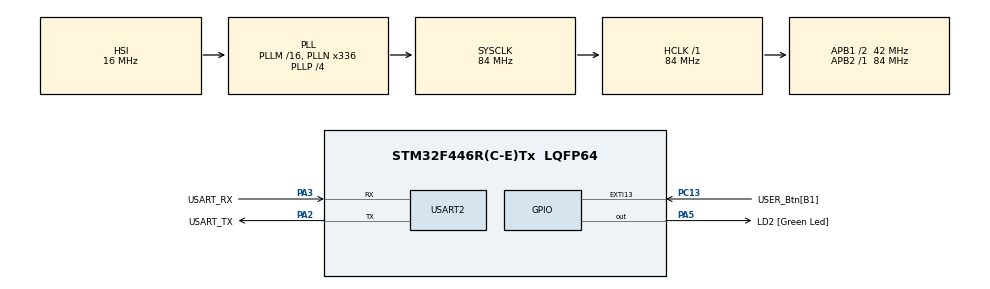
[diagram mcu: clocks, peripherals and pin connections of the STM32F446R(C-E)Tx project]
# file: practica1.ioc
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FREERTOS.BinarySemaphores01=Binary_Sem,Dynamic,NULL,Available
FREERTOS.Tasks01=Task1,0,128,Task1_App,Default,NULL,Dynamic,NULL,NULL;Task2,0,128,Task2_App,Default,NULL,Dynamic,NULL,NULL
Mcu.Family=STM32F4
Mcu.Name=STM32F446R(C-E)Tx
Mcu.Package=LQFP64
NVIC.EXTI15_10_IRQn=true\:5\:0\:false\:false\:true\:true\:true\:true\:true
NVIC.PriorityGroup=NVIC_PRIORITYGROUP_4
NVIC.TIM1_UP_TIM10_IRQn=true\:15\:0\:false\:false\:true\:false\:false\:true\:true
NVIC.TimeBase=TIM1_UP_TIM10_IRQn
NVIC.TimeBaseIP=TIM1
PA13.GPIO_Label=TMS
PA13.Mode=Serial_Wire
PA13.Signal=SYS_JTMS-SWDIO
PA14.GPIO_Label=TCK
PA14.Mode=Serial_Wire
PA14.Signal=SYS_JTCK-SWCLK
PA2.GPIO_Label=USART_TX
PA2.Mode=Asynchronous
PA2.Signal=USART2_TX
PA3.GPIO_Label=USART_RX
PA3.Mode=Asynchronous
PA3.Signal=USART2_RX
PA5.GPIO_Label=LD2 [Green Led]
PA5.Signal=GPIO_Output
PB3.GPIO_Label=SWO
PB3.Signal=SYS_JTDO-SWO
PC13.GPIO_Label=USER_Btn[B1]
PC13.GPIO_ModeDefaultEXTI=GPIO_MODE_IT_FALLING
PC13.Signal=GPXTI13
PC14-OSC32_IN.Mode=LSE-External-Oscillator
PC14-OSC32_IN.Signal=RCC_OSC32_IN
PC15-OSC32_OUT.Mode=LSE-External-Oscillator
PC15-OSC32_OUT.Signal=RCC_OSC32_OUT
PH0-OSC_IN.Mode=HSE-External-Oscillator
PH0-OSC_IN.Signal=RCC_OSC_IN
PH1-OSC_OUT.Mode=HSE-External-Oscillator
PH1-OSC_OUT.Signal=RCC_OSC_OUT
ProjectManager.HeapSize=0x200
ProjectManager.StackSize=0x400
ProjectManager.TargetToolchain=STM32CubeIDE
RCC.48MHZClocksFreq_Value=84000000
RCC.AHBFreq_Value=84000000
RCC.APB1CLKDivider=RCC_HCLK_DIV2
RCC.APB1Freq_Value=42000000
RCC.APB1TimFreq_Value=84000000
RCC.APB2Freq_Value=84000000
RCC.APB2TimFreq_Value=84000000
RCC.CortexFreq_Value=84000000
RCC.FLatency-AdvancedSettings=FLASH_LATENCY_2
RCC.HCLKFreq_Value=84000000
RCC.HSE_VALUE=8000000
RCC.HSI_VALUE=16000000
RCC.PLLN=336
RCC.PLLP=RCC_PLLP_DIV4
RCC.SYSCLKFreq_VALUE=84000000
RCC.SYSCLKSource=RCC_SYSCLKSOURCE_PLLCLK
RCC.USBFreq_Value=168000000
RCC.VCOOutputFreq_Value=336000000
USART2.VirtualMode=VM_ASYNC
VP_FREERTOS_VS_CMSIS_V1.Mode=CMSIS_V1
VP_SYS_VS_tim1.Mode=TIM1
board=NUCLEO-F446RE

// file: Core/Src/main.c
/* USER CODE BEGIN Header */
/**
  ******************************************************************************
  * @file           : main.c
  * @brief          : Main program body
  ******************************************************************************
  * @attention
  *
  * Copyright (c) 2025 STMicroelectronics.
  * All rights reserved.
  *
  * This software is licensed under terms that can be found in the LICENSE file
  * in the root directory of this software component.
  * If no LICENSE file comes with this software, it is provided AS-IS.
  *
  ******************************************************************************
  */
/* USER CODE END Header */
#include "main.h"
#include "cmsis_os.h"
#include "logger.h"
#include "dwt.h"

/* Application includes. */

TIM_HandleTypeDef htim2;

UART_HandleTypeDef huart2;

osThreadId defaultTaskHandle;
UART_HandleTypeDef huart2;

osThreadId Task1Handle;
osThreadId Task2Handle;
osSemaphoreId Binary_SemHandle;
/* USER CODE BEGIN PV */
volatile unsigned long ulHighFrequencyTimerTicks;
/* USER CODE END PV */

void SystemClock_Config(void);
static void MX_GPIO_Init(void);
static void MX_USART2_UART_Init(void);
void Task1_App(void const * argument);
void Task2_App(void const * argument);

/* USER CODE BEGIN 0 */
#include <stdio.h>
#include "../../app/inc/app.h"
extern void initialise_monitor_handles(void);
/* USER CODE END 0 */

int main(void)
{

  /* USER CODE BEGIN 1 */
	initialise_monitor_handles();
  /* USER CODE END 1 */

  /* MCU Configuration--------------------------------------------------------*/

  /* Reset of all peripherals, Initializes the Flash interface and the Systick. */
  HAL_Init();

  /* Configure the system clock */
  SystemClock_Config();

  /* Initialize all configured peripherals */
  MX_GPIO_Init();
  MX_USART2_UART_Init();
  /* USER CODE BEGIN 2 */
  /* Start timer */
	HAL_TIM_Base_Start_IT(&htim2);

    /* add application, ... */
	app_init();

  /* USER CODE END 2 */

  /* Create the semaphores(s) */
  /* definition and creation of Binary_Sem */
  osSemaphoreDef(Binary_Sem);
  Binary_SemHandle = osSemaphoreCreate(osSemaphore(Binary_Sem), 1);

  /* USER CODE BEGIN RTOS_QUEUES */
  /* add queues, ... */
#ifdef _defaultTask_

/* USER CODE END RTOS_QUEUES */

/* Create the thread(s) */
/* definition and creation of defaultTask */
osThreadDef(defaultTask, StartDefaultTask, osPriorityNormal, 0, 128);
defaultTaskHandle = osThreadCreate(osThread(defaultTask), NULL);

/* USER CODE BEGIN RTOS_THREADS */
#endif
  /* USER CODE BEGIN RTOS_THREADS */
  /* add threads, ... */
  /* USER CODE END RTOS_THREADS */

  /* Start scheduler */
  osKernelStart();

  /* We should never get here as control is now taken by the scheduler */

  /* Infinite loop */
  while (1)
  {

  }
}

void SystemClock_Config(void)
{
  RCC_OscInitTypeDef RCC_OscInitStruct = {0};
  RCC_ClkInitTypeDef RCC_ClkInitStruct = {0};

  /** Configure the main internal regulator output voltage
  */
  __HAL_RCC_PWR_CLK_ENABLE();
  __HAL_PWR_VOLTAGESCALING_CONFIG(PWR_REGULATOR_VOLTAGE_SCALE3);

  /** Initializes the RCC Oscillators according to the specified parameters
  * in the RCC_OscInitTypeDef structure.
  */
  RCC_OscInitStruct.OscillatorType = RCC_OSCILLATORTYPE_HSI;
  RCC_OscInitStruct.HSIState = RCC_HSI_ON;
  RCC_OscInitStruct.HSICalibrationValue = RCC_HSICALIBRATION_DEFAULT;
  RCC_OscInitStruct.PLL.PLLState = RCC_PLL_ON;
  RCC_OscInitStruct.PLL.PLLSource = RCC_PLLSOURCE_HSI;
  RCC_OscInitStruct.PLL.PLLM = 16;
  RCC_OscInitStruct.PLL.PLLN = 336;
  RCC_OscInitStruct.PLL.PLLP = RCC_PLLP_DIV4;
  RCC_OscInitStruct.PLL.PLLQ = 2;
  RCC_OscInitStruct.PLL.PLLR = 2;
  if (HAL_RCC_OscConfig(&RCC_OscInitStruct) != HAL_OK)
  {
    Error_Handler();
  }

  /** Initializes the CPU, AHB and APB buses clocks
  */
  RCC_ClkInitStruct.ClockType = RCC_CLOCKTYPE_HCLK|RCC_CLOCKTYPE_SYSCLK
                              |RCC_CLOCKTYPE_PCLK1|RCC_CLOCKTYPE_PCLK2;
  RCC_ClkInitStruct.SYSCLKSource = RCC_SYSCLKSOURCE_PLLCLK;
  RCC_ClkInitStruct.AHBCLKDivider = RCC_SYSCLK_DIV1;
  RCC_ClkInitStruct.APB1CLKDivider = RCC_HCLK_DIV2;
  RCC_ClkInitStruct.APB2CLKDivider = RCC_HCLK_DIV1;

  if (HAL_RCC_ClockConfig(&RCC_ClkInitStruct, FLASH_LATENCY_2) != HAL_OK)
  {
    Error_Handler();
  }
}

static void MX_USART2_UART_Init(void)
{

  huart2.Instance = USART2;
  huart2.Init.BaudRate = 115200;
  huart2.Init.WordLength = UART_WORDLENGTH_8B;
  huart2.Init.StopBits = UART_STOPBITS_1;
  huart2.Init.Parity = UART_PARITY_NONE;
  huart2.Init.Mode = UART_MODE_TX_RX;
  huart2.Init.HwFlowCtl = UART_HWCONTROL_NONE;
  huart2.Init.OverSampling = UART_OVERSAMPLING_16;
  if (HAL_UART_Init(&huart2) != HAL_OK)
  {
    Error_Handler();
  }

}

static void MX_GPIO_Init(void)
{
  GPIO_InitTypeDef GPIO_InitStruct = {0};

  /* GPIO Ports Clock Enable */
  __HAL_RCC_GPIOC_CLK_ENABLE();
  __HAL_RCC_GPIOH_CLK_ENABLE();
  __HAL_RCC_GPIOA_CLK_ENABLE();
  __HAL_RCC_GPIOB_CLK_ENABLE();

  /*Configure GPIO pin Output Level */
  HAL_GPIO_WritePin(LD2_GPIO_Port, LD2_Pin, GPIO_PIN_RESET);

  /*Configure GPIO pin : USER_Btn_Pin */
  GPIO_InitStruct.Pin = USER_Btn_Pin;
  GPIO_InitStruct.Mode = GPIO_MODE_IT_FALLING;
  GPIO_InitStruct.Pull = GPIO_NOPULL;
  HAL_GPIO_Init(USER_Btn_GPIO_Port, &GPIO_InitStruct);

  /*Configure GPIO pin : LD2_Pin */
  GPIO_InitStruct.Pin = LD2_Pin;
  GPIO_InitStruct.Mode = GPIO_MODE_OUTPUT_PP;
  GPIO_InitStruct.Pull = GPIO_NOPULL;
  GPIO_InitStruct.Speed = GPIO_SPEED_FREQ_LOW;
  HAL_GPIO_Init(LD2_GPIO_Port, &GPIO_InitStruct);

  /* EXTI interrupt init*/
  HAL_NVIC_SetPriority(EXTI15_10_IRQn, 5, 0);
  HAL_NVIC_EnableIRQ(EXTI15_10_IRQn);

}

/* USER CODE BEGIN 4 */
void HAL_GPIO_EXTI_Callback(uint16_t GPIO_Pin) {
	if(USER_Btn_Pin == GPIO_Pin)
		osSemaphoreRelease (Binary_SemHandle);
}
/* USER CODE END 4 */

void Task1_App(void const * argument)
{
  /* USER CODE BEGIN 5 */
  /* Infinite loop */
  for(;;)
  {
    HAL_GPIO_WritePin(LD2_GPIO_Port, LD2_Pin, GPIO_PIN_SET);
    osSemaphoreWait(Binary_SemHandle, osWaitForever);
  }
  /* USER CODE END 5 */
}

void Task2_App(void const * argument)
{
  /* USER CODE BEGIN Task2_App */
  /* Infinite loop */
  for(;;)
  {
	HAL_GPIO_WritePin(LD2_GPIO_Port, LD2_Pin, GPIO_PIN_RESET);
    osDelay(1);
  }
  /* USER CODE END Task2_App */
}

void HAL_TIM_PeriodElapsedCallback(TIM_HandleTypeDef *htim)
{
  if (htim->Instance == TIM1)
  {
    HAL_IncTick();
  }
}

void Error_Handler(void)
{
  __disable_irq();
  while (1)
  {
  }
}
